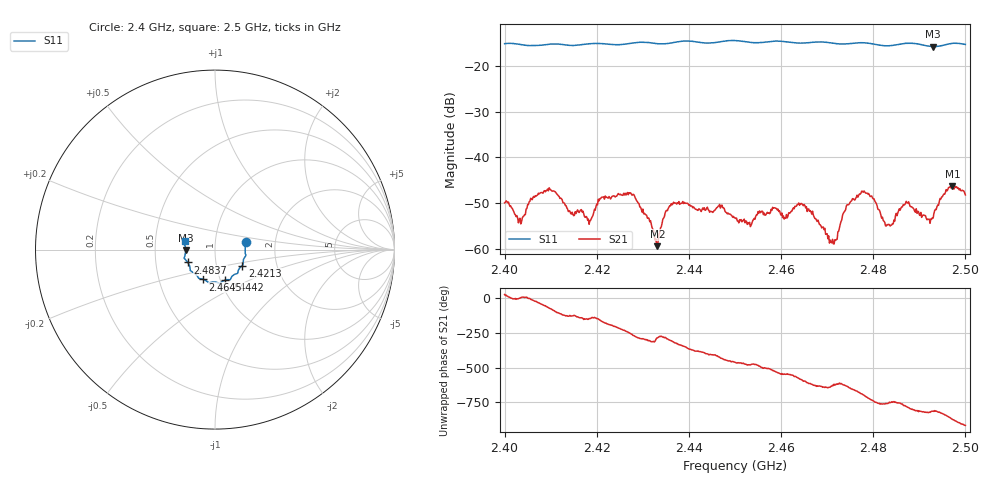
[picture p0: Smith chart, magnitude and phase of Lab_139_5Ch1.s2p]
# Hz S RI R 50
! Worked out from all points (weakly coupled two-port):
!   601 points, 2.4 GHz to 2.5 GHz, reference 50 ohm
!   highest |S21| = -46.32 dB at 2.4972 GHz (marker M1); lowest = -59.5 dB at 2.4332 GHz (marker M2)
!   lowest |S11| = -15.7 dB at 2.493 GHz (marker M3), VSWR 1.39, Z = 35.9 - j0.219 ohm
!   |S11| at or under -10 dB: start of sweep to end of sweep
!   S12 and S22 are empty: the file has one direction only
!   S11 on the Smith chart (normalised r, x): 2.4 GHz: 1.41, +0.12; 2.4213 GHz: 1.33, -0.25; 2.4442 GHz: 1.05, -0.37; 2.4645 GHz: 0.83, -0.29; 2.4837 GHz: 0.73, -0.11; 2.5 GHz: 0.71, +0.07
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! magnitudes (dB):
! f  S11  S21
! 2.4 GHz  -15.1  -50.0
! 2.4033 GHz  -15.3  -53.3
! 2.4097 GHz  -15.2  -46.7
! 2.4167 GHz  -15.3  -51.5
! 2.4185 GHz  -15.1  -53.8
! 2.4213 GHz  -15.1  -48.7
! 2.4277 GHz  -15.0  -48.3
! 2.4332 GHz  -15.1  -59.5
! 2.4333 GHz  -15.1  -58.1
! 2.4363 GHz  -14.9  -50.4
! 2.4442 GHz  -15.0  -51.4
! 2.45 GHz  -14.4  -53.3
! 2.4645 GHz  -15.0  -50.2
! 2.4667 GHz  -14.8  -52.4
! 2.4713 GHz  -15.0  -58.9
! 2.478 GHz  -14.9  -47.4
! 2.4833 GHz  -15.6  -54.7
! 2.4837 GHz  -15.5  -55.1
! 2.4873 GHz  -15.0  -50.0
! 2.493 GHz  -15.7  -53.3
! 2.4972 GHz  -15.0  -46.3
! 2.5 GHz  -15.3  -48.2
